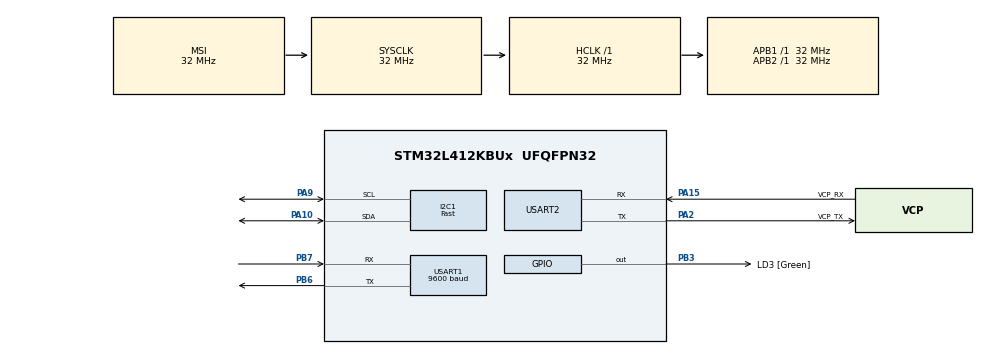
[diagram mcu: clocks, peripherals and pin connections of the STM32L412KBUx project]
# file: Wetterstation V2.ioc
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Dma.Request0=USART1_RX
Dma.Request1=USART2_RX
Dma.USART1_RX.0.Direction=DMA_PERIPH_TO_MEMORY
Dma.USART1_RX.0.Instance=DMA1_Channel5
Dma.USART1_RX.0.MemDataAlignment=DMA_MDATAALIGN_BYTE
Dma.USART1_RX.0.MemInc=DMA_MINC_ENABLE
Dma.USART1_RX.0.Mode=DMA_CIRCULAR
Dma.USART1_RX.0.PeriphDataAlignment=DMA_PDATAALIGN_BYTE
Dma.USART1_RX.0.PeriphInc=DMA_PINC_DISABLE
Dma.USART1_RX.0.Priority=DMA_PRIORITY_LOW
Dma.USART2_RX.1.Direction=DMA_PERIPH_TO_MEMORY
Dma.USART2_RX.1.Instance=DMA1_Channel6
Dma.USART2_RX.1.MemDataAlignment=DMA_MDATAALIGN_BYTE
Dma.USART2_RX.1.MemInc=DMA_MINC_ENABLE
Dma.USART2_RX.1.Mode=DMA_CIRCULAR
Dma.USART2_RX.1.PeriphDataAlignment=DMA_PDATAALIGN_BYTE
Dma.USART2_RX.1.PeriphInc=DMA_PINC_DISABLE
Dma.USART2_RX.1.Priority=DMA_PRIORITY_LOW
I2C1.I2C_Speed_Mode=I2C_Fast
I2C1.Timing=0x0060112F
Mcu.Family=STM32L4
Mcu.Name=STM32L412KBUx
Mcu.Package=UFQFPN32
NVIC.DMA1_Channel5_IRQn=true\:0\:0\:false\:false\:true\:false\:true\:true
NVIC.DMA1_Channel6_IRQn=true\:0\:0\:false\:false\:true\:false\:true\:true
NVIC.PriorityGroup=NVIC_PRIORITYGROUP_4
PA0-CK_IN.Mode=HSE-External-Clock-Source-for-LittleOrca
PA0-CK_IN.Signal=RCC_CK_IN
PA10.Mode=I2C
PA10.Signal=I2C1_SDA
PA13\ (JTMS/SWDIO).GPIO_Label=SWDIO
PA13\ (JTMS/SWDIO).Mode=Serial_Wire
PA13\ (JTMS/SWDIO).Signal=SYS_JTMS-SWDIO
PA14\ (JTCK/SWCLK).GPIO_Label=SWCLK
PA14\ (JTCK/SWCLK).Mode=Serial_Wire
PA14\ (JTCK/SWCLK).Signal=SYS_JTCK-SWCLK
PA15\ (JTDI).GPIO_Label=VCP_RX
PA15\ (JTDI).Mode=Asynchronous
PA15\ (JTDI).Signal=USART2_RX
PA2.GPIO_Label=VCP_TX
PA2.Mode=Asynchronous
PA2.Signal=USART2_TX
PA9.Mode=I2C
PA9.Signal=I2C1_SCL
PB3\ (JTDO/TRACESWO).GPIO_Label=LD3 [Green]
PB3\ (JTDO/TRACESWO).Signal=GPIO_Output
PB6.Mode=Asynchronous
PB6.Signal=USART1_TX
PB7.Mode=Asynchronous
PB7.Signal=USART1_RX
PC14-OSC32_IN\ (PC14).Mode=LSE-External-Oscillator
PC14-OSC32_IN\ (PC14).Signal=RCC_OSC32_IN
PC15-OSC32_OUT\ (PC15).Mode=LSE-External-Oscillator
PC15-OSC32_OUT\ (PC15).Signal=RCC_OSC32_OUT
ProjectManager.HeapSize=0x200
ProjectManager.StackSize=0x400
ProjectManager.TargetToolchain=STM32CubeIDE
RCC.ADCFreq_Value=32000000
RCC.AHBFreq_Value=32000000
RCC.APB1Freq_Value=32000000
RCC.APB1TimFreq_Value=32000000
RCC.APB2Freq_Value=32000000
RCC.APB2TimFreq_Value=32000000
RCC.CortexFreq_Value=32000000
RCC.FLatency=FLASH_LATENCY_1
RCC.HCLKFreq_Value=32000000
RCC.HSE_VALUE=8000000
RCC.HSI48_VALUE=48000000
RCC.HSICalibrationValue=64
RCC.HSI_VALUE=16000000
RCC.LSE_Drive_Capability=RCC_LSEDRIVE_LOW
RCC.MSIClockRange=RCC_MSIRANGE_10
RCC.MSI_VALUE=32000000
RCC.SYSCLKFreq_VALUE=32000000
RCC.USBFreq_Value=32000000
RCC.VCOOutputFreq_Value=256000000
USART1.BaudRate=9600
USART1.VirtualMode-Asynchronous=VM_ASYNC
USART2.VirtualMode-Asynchronous=VM_ASYNC
board=NUCLEO-L412KB

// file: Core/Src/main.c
/* USER CODE BEGIN Header */
/**
  ******************************************************************************
  * @file           : main.c
  * @brief          : Main program body
  ******************************************************************************
  * @attention
  *
  * Copyright (c) 2025 STMicroelectronics.
  * All rights reserved.
  *
  * This software is licensed under terms that can be found in the LICENSE file
  * in the root directory of this software component.
  * If no LICENSE file comes with this software, it is provided AS-IS.
  *
  ******************************************************************************
  */
/* USER CODE END Header */
#include "main.h"
#include "dma.h"
#include "i2c.h"
#include "usart.h"
#include "gpio.h"

/* USER CODE BEGIN Includes */
#include <stdio.h>
#include <string.h>
#include "usart.h"
#include "CommHandler.h"
#include "LoRa_E5.h"
#include "SEN5X.h"
#include "SHT4x.h"
#include "HP20x.h"
#include "INA3221.h"
#include "command_processor.h"
/* USER CODE END Includes */

/* USER CODE BEGIN PV */
#define UART1_RX_BUFFER_SIZE 512
#define UART2_RX_BUFFER_SIZE 512
#define SHORT_MSG_SIZE 512
uint8_t uart1_rx_buffer[UART1_RX_BUFFER_SIZE];
uint8_t uart2_rx_buffer[UART2_RX_BUFFER_SIZE];

uint8_t uart2_command_buffer[UART2_RX_BUFFER_SIZE]; // Zum Speichern von UART2-Kommandos
uint16_t uart2_command_length = 0; // Länge des aktuellen UART2-Kommandos

uint32_t measurement_interval_ms = 15000; // Standard: 1 Minute
uint8_t interval_minutes = 5; // Standardwert, falls nichts gesetzt ist
uint32_t last_measurement_time = 0;       // Zeitpunkt der letzten Messung
uint8_t sen5x_active = 0;                 // Flag, ob der SEN5X-Sensor aktiv ist

float bus_voltages[3];
float currents[3];
float shunt_resistance = 1; // Shunt-Widerstand in Ohm (z. B. 0.1 Ohm)
/* USER CODE END PV */

void SystemClock_Config(void);
/* USER CODE BEGIN PFP */
void ProcessUART1Data(uint8_t *buffer, uint16_t length);
void ProcessUART2Data(uint8_t *buffer, uint16_t length);

/* USER CODE END PFP */
void HandleIncomingCommands(void);
/* USER CODE BEGIN 0 */
#ifdef __GNUC__
#define PUTCHAR_PROTOTYPE int __io_putchar(int ch)
#else
#define PUTCHAR_PROTOTYPE int fputc(int ch, FILE *f)
#endif

PUTCHAR_PROTOTYPE
{
    // Ändere huart2 auf den gewünschten UART-Handle
    HAL_UART_Transmit(&huart2, (uint8_t *)&ch, 1, HAL_MAX_DELAY);
    return ch;
}

/* USER CODE END 0 */

int main(void)
{

  /* MCU Configuration--------------------------------------------------------*/

  /* Reset of all peripherals, Initializes the Flash interface and the Systick. */
  HAL_Init();

  /* Configure the system clock */
  SystemClock_Config();

  /* Initialize all configured peripherals */
  MX_GPIO_Init();
  MX_DMA_Init();
  MX_USART2_UART_Init();
  MX_I2C1_Init();
  MX_USART1_UART_Init();
  /* USER CODE BEGIN 2 */
  HP20x_Init();
  SEN5X_Init();
  SHT4X_Init();
  INA3221_Init(&hi2c1);

  void Start_UART_DMA(void) {
      // UART1 DMA RX starten
	  HAL_UART_Receive_DMA(&huart1, lora_rx_buffer, LORA_BUFFER_SIZE);

      // UART2 DMA RX starten
      HAL_UART_Receive_DMA(&huart2, uart2_rx_buffer, UART2_RX_BUFFER_SIZE);

      // IDLE Interrupt für UART1 und UART2 aktivieren
      __HAL_UART_ENABLE_IT(&huart1, UART_IT_IDLE);
      __HAL_UART_ENABLE_IT(&huart2, UART_IT_IDLE);
  }

  Start_UART_DMA();
  /* USER CODE END 2 */

  /* Infinite loop */
  /* USER CODE BEGIN WHILE */
  HAL_Init();
  SystemClock_Config();
  MX_GPIO_Init();
  MX_USART1_UART_Init(); // UART für LoRa
  MX_USART2_UART_Init(); // UART für Debug-Konsole

  // DMA RX starten und IDLE-Interrupt aktivieren
  HAL_UART_Receive_DMA(&huart1, uart1_rx_buffer, UART1_RX_BUFFER_SIZE);
  __HAL_UART_ENABLE_IT(&huart1, UART_IT_IDLE);

  // Kommunikationshandler initialisieren
  CommHandler_Init();

  // Sende ein Beispielkommando an das LoRa-Modul
  LoRa_E5_SetConfiguration("868,SF12,125,12,15,14,ON,OFF,OFF");
//  LoRa_E5_SendMessage("1234");
//  printf("Fin\n");

  while (1)
  {

	  SEN5X_StartMeasurement();
	  HAL_Delay(15000);
	  ReadAndSendSensorData(&hi2c1);
	  SEN5X_StopMeasurement();
	  HAL_Delay(75000);

//	  SEN5X_StopMeasurement();
//	  HAL_Delay(50000);

//	  HandleIncomingCommands(); // Überprüft und verarbeitet eingehende Befehle
//	         HAL_Delay(100); // Kleine Pause zur Reduzierung der CPU-Last
//	     }
//	 }
//
//	 /* USER CODE BEGIN 4 */
//	 void HandleIncomingCommands(void) {
//	     // Verarbeiten von LoRa-Befehlen
//	     LoRa_E5_ReceiveMessage(); // Diese Funktion ruft `ProcessCommand` direkt auf
//
//	     // Verarbeiten von UART2-Befehlen
//	     if (uart2_command_length > 0) { // Wenn ein Befehl empfangen wurde
//	         uart2_command_buffer[uart2_command_length] = '\0'; // Terminieren als String
//	         ProcessCommand((char *)uart2_command_buffer); // Befehl an den Command Processor weitergeben
//	         uart2_command_length = 0; // Länge zurücksetzen
//	     }
//	 }

//	 // UART2 IDLE-Interrupt-Callback
//	 void HAL_UART_IDLECallback(UART_HandleTypeDef *huart) {
//	     if (huart == &huart2) {
//	         uint16_t dma_index = UART2_RX_BUFFER_SIZE - __HAL_DMA_GET_COUNTER(huart->hdmarx); // Datenlänge berechnen
//	         memcpy(uart2_command_buffer, uart2_rx_buffer, dma_index); // Daten in den Befehlsbuffer kopieren
//	         uart2_command_length = dma_index; // Befehlslänge setzen
//	         HAL_UART_Receive_DMA(&huart2, uart2_rx_buffer, UART2_RX_BUFFER_SIZE); // DMA erneut starten
	     }

    /* USER CODE END WHILE */

  }

void SystemClock_Config(void)
{
  RCC_OscInitTypeDef RCC_OscInitStruct = {0};
  RCC_ClkInitTypeDef RCC_ClkInitStruct = {0};

  /** Configure the main internal regulator output voltage
  */
  if (HAL_PWREx_ControlVoltageScaling(PWR_REGULATOR_VOLTAGE_SCALE1) != HAL_OK)
  {
    Error_Handler();
  }

  /** Configure LSE Drive Capability
  */
  HAL_PWR_EnableBkUpAccess();
  __HAL_RCC_LSEDRIVE_CONFIG(RCC_LSEDRIVE_LOW);

  /** Initializes the RCC Oscillators according to the specified parameters
  * in the RCC_OscInitTypeDef structure.
  */
  RCC_OscInitStruct.OscillatorType = RCC_OSCILLATORTYPE_LSE|RCC_OSCILLATORTYPE_MSI;
  RCC_OscInitStruct.LSEState = RCC_LSE_ON;
  RCC_OscInitStruct.MSIState = RCC_MSI_ON;
  RCC_OscInitStruct.MSICalibrationValue = 0;
  RCC_OscInitStruct.MSIClockRange = RCC_MSIRANGE_10;
  RCC_OscInitStruct.PLL.PLLState = RCC_PLL_NONE;
  if (HAL_RCC_OscConfig(&RCC_OscInitStruct) != HAL_OK)
  {
    Error_Handler();
  }

  /** Initializes the CPU, AHB and APB buses clocks
  */
  RCC_ClkInitStruct.ClockType = RCC_CLOCKTYPE_HCLK|RCC_CLOCKTYPE_SYSCLK
                              |RCC_CLOCKTYPE_PCLK1|RCC_CLOCKTYPE_PCLK2;
  RCC_ClkInitStruct.SYSCLKSource = RCC_SYSCLKSOURCE_MSI;
  RCC_ClkInitStruct.AHBCLKDivider = RCC_SYSCLK_DIV1;
  RCC_ClkInitStruct.APB1CLKDivider = RCC_HCLK_DIV1;
  RCC_ClkInitStruct.APB2CLKDivider = RCC_HCLK_DIV1;

  if (HAL_RCC_ClockConfig(&RCC_ClkInitStruct, FLASH_LATENCY_1) != HAL_OK)
  {
    Error_Handler();
  }

  /** Enable MSI Auto calibration
  */
  HAL_RCCEx_EnableMSIPLLMode();
}

/* USER CODE BEGIN 4 */
  void DMA_RX_CompleteCallback(UART_HandleTypeDef *huart, uint8_t *buffer, uint16_t buffer_size)
  {
      uint16_t dma_index = buffer_size - __HAL_DMA_GET_COUNTER(huart->hdmarx);

      if (huart == &huart1)
      {
          // UART1-Daten verarbeiten
          ProcessUART1Data(buffer, dma_index);
      } else if (huart == &huart2)
      {
          // UART2-Daten verarbeiten
          ProcessUART2Data(buffer, dma_index);
    }
  }

  void ProcessUART1Data(uint8_t *buffer, uint16_t length) {
      for (uint16_t i = 0; i < length; i++) {
          printf("UART1: %c\n", buffer[i]);
      }
  }

  void ProcessUART2Data(uint8_t *buffer, uint16_t length) {
      for (uint16_t i = 0; i < length; i++) {
          printf("UART2: %c\n", buffer[i]);
      }
  }

  void HandleUART1Data(uint8_t *buffer, uint16_t length) {
      for (uint16_t i = 0; i < length; i++) {
          printf("UART1 received: %c\n", buffer[i]); // Ausgabe der empfangenen Daten
      }
  }

  // Verarbeitung von Daten, die über UART2 empfangen wurden
  void HandleUART2Data(uint8_t *buffer, uint16_t length) {
      static uint16_t last_position = 0;
      uint16_t current_position = UART2_RX_BUFFER_SIZE - __HAL_DMA_GET_COUNTER(huart2.hdmarx);

      if (current_position != last_position) {
          if (current_position > last_position) {
              // Normale Verarbeitung, wenn der Puffer nicht umschlägt
              for (uint16_t i = last_position; i < current_position; i++) {
                  printf("UART2: %c\n", buffer[i]);
              }
          } else {
              // Puffer schlägt um (Wraparound)
              for (uint16_t i = last_position; i < UART2_RX_BUFFER_SIZE; i++) {
                  printf("UART2: %c\n", buffer[i]);
              }
              for (uint16_t i = 0; i < current_position; i++) {
                  printf("UART2: %c\n", buffer[i]);
              }
          }

          // Aktualisiere die letzte Position
          last_position = current_position;
      }
  }

  void ReadAndSendSensorData(I2C_HandleTypeDef *hi2c) {
      // Sensorwerte
      float hp20x_temp = 0, hp20x_press = 0, hp20x_alt = 0;
      float sen5X_pm1p0 = 0, sen5X_pm2p5 = 0, sen5X_pm4p0 = 0, sen5X_pm10 = 0;
      float sen5X_humidity = 0, sen5X_temp = 0, sen5X_voc = 0, sen5X_nox = 0;
      float sht4X_temp = 0, sht4X_humidity = 0;
      float bus_voltages[3] = {0}, currents[3] = {0};

      // Sensoren auslesen
      HP20x_ReadAllMeasuredValues(&hp20x_temp, &hp20x_press, &hp20x_alt);
      SEN5X_ReadAllMeasuredValues(&sen5X_pm1p0, &sen5X_pm2p5, &sen5X_pm4p0, &sen5X_pm10,
                                  &sen5X_humidity, &sen5X_temp, &sen5X_voc, &sen5X_nox);
      SHT4X_MeasureHighPrecision(&sht4X_temp, &sht4X_humidity);

      // INA3221 auslesen
      if (INA3221_ReadAll(&hi2c1, shunt_resistance, bus_voltages, currents) != HAL_OK) {
          // Fehler beim Auslesen der INA3221-Daten
          for (int i = 0; i < 3; i++) {
              bus_voltages[i] = -1.0; // Fehlerwert
              currents[i] = -1.0;
          }
      }
      currents[2] = currents[2] - currents[1];

      HP20x_IIC_WriteCmd(HP20X_CMD_SOFT_RST); // Reset command can be used to power off HP206C

      // Nachricht formatieren
      char short_msg[SHORT_MSG_SIZE];
      snprintf(short_msg, sizeof(short_msg),
               "HP20x:%.2f,%.2f,%.2f;SEN55:%.1f,%.1f,%.1f,%.1f,%.2f,%.2f,%.1f,%.1f;SHT45:%.2f,%.2f;INA3221:%.3f,%.3f,%.3f,%.3f,%.3f,%.3f;\r\n",
               hp20x_temp, hp20x_press, hp20x_alt,
               sen5X_pm1p0, sen5X_pm2p5, sen5X_pm4p0, sen5X_pm10,
               sen5X_humidity, sen5X_temp, sen5X_voc, sen5X_nox,
               sht4X_temp, sht4X_humidity,
               bus_voltages[0], currents[0],
               bus_voltages[1], currents[1],
               bus_voltages[2], currents[2]);

      // Nachricht über LoRa senden
      LoRa_E5_SendMessage(short_msg);

      // Debug-Ausgabe
      printf("Original Message: %s\n", short_msg);

  }
/* USER CODE END 4 */

void Error_Handler(void)
{
  __disable_irq();
  while (1)
  {
  }
}
